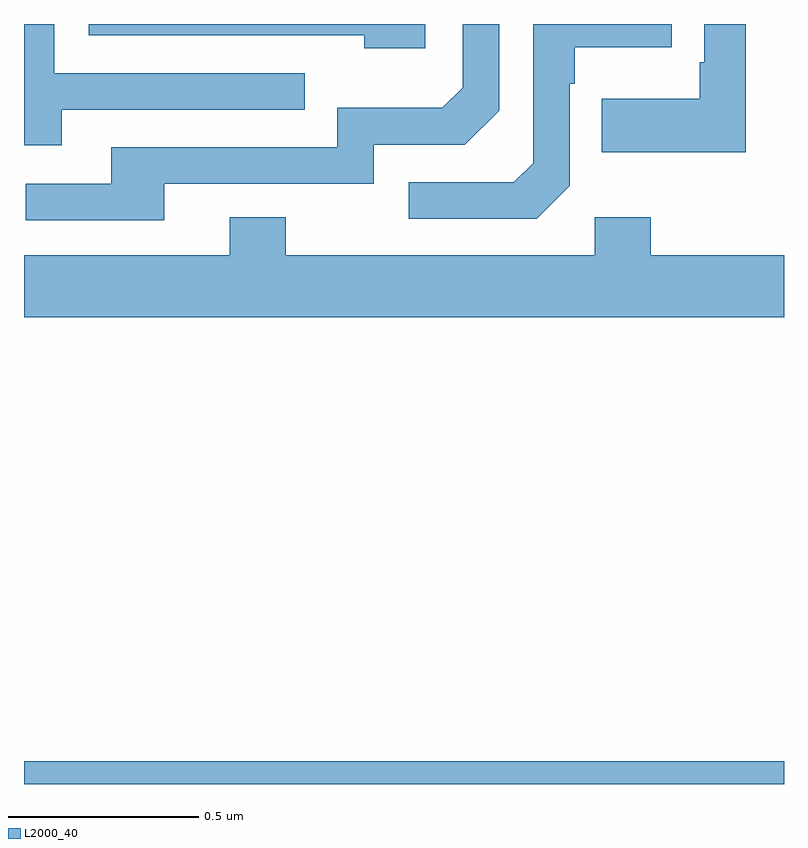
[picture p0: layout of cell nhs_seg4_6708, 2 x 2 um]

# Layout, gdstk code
import gdstk
lib = gdstk.Library(unit=1e-6, precision=1e-09)
def R(c, l, rs):  # rectangles x0, y0, x1, y1
    for r in rs: c.add(gdstk.rectangle(r[:2], r[2:], *l))
def P(c, l, *ps):  # polygons
    for p in ps: c.add(gdstk.Polygon(p, *l))
L2000_40 = (2000, 40)

nhs_seg4_6708 = lib.new_cell('nhs_seg4_6708')
R(nhs_seg4_6708, L2000_40, [(193,820.9,195,820.96)])
P(nhs_seg4_6708, L2000_40, [(194.056,822.9),(193.17,822.9),(193.17,822.87),(193.895,822.87),(193.895,822.836),(194.056,822.836)],
  [(193.369,822.48),(193.92,822.48),(193.92,822.582),(194.16,822.582),(194.25,822.672),(194.25,822.9),(194.154,822.9),(194.154,822.732),(194.101,822.679),(193.824,822.679),(193.824,822.576),(193.229,822.576),(193.229,822.48),(193.005,822.48),(193.005,822.384),(193.369,822.384)],
  [(193.099,822.675),(193.739,822.675),(193.739,822.771),(193.08,822.771),(193.08,822.9),(193,822.9),(193,822.581),(193.099,822.581)],
  [(194.899,822.9),(194.79,822.9),(194.79,822.799),(194.778,822.799),(194.778,822.703),(194.521,822.703),(194.521,822.563),(194.899,822.563)],
  [(194.436,822.474),(194.436,822.743),(194.449,822.743),(194.449,822.839),(194.705,822.839),(194.705,822.9),(194.34,822.9),(194.34,822.534),(194.289,822.483),(194.013,822.483),(194.013,822.387),(194.349,822.387)],
  [(195,822.292),(194.649,822.292),(194.649,822.391),(194.502,822.391),(194.502,822.292),(193.689,822.292),(193.689,822.391),(193.541,822.391),(193.541,822.292),(193,822.292),(193,822.128),(195,822.128)])

lib.write_gds('nhs_seg4_6708.gds')
